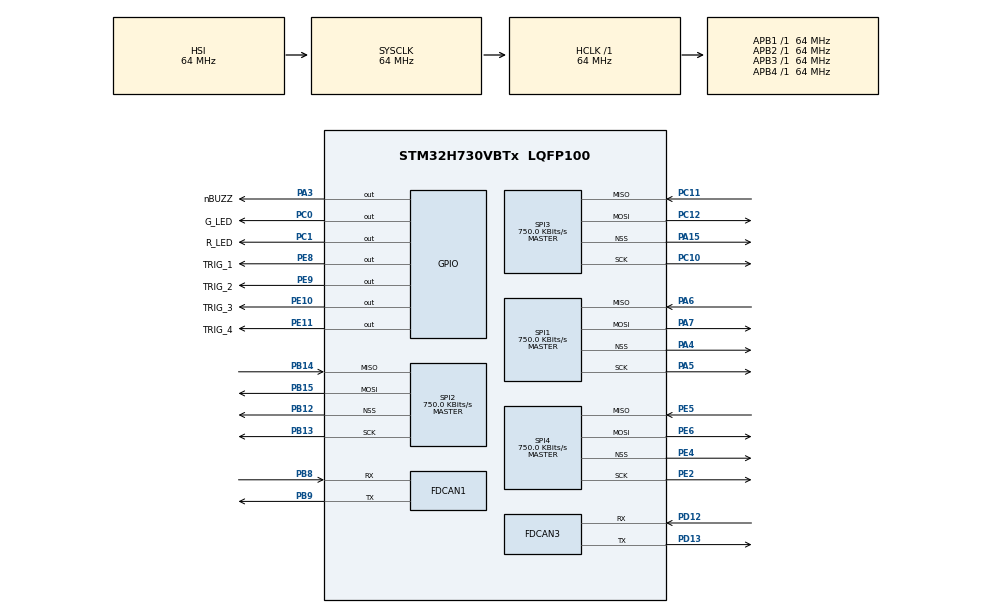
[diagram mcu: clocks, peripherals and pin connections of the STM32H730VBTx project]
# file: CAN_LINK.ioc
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CORTEX_M7.default_mode_Activation=1
FDCAN1.CalculateBaudRateNominal=500000
FDCAN1.CalculateTimeBitNominal=2000
FDCAN1.CalculateTimeQuantumNominal=400.0
FDCAN1.NominalPrescaler=10
FDCAN1.RxFifo0ElmtsNbr=5
FDCAN1.TxFifoQueueElmtsNbr=5
FDCAN3.AutoRetransmission=ENABLE
FDCAN3.CalculateBaudRateNominal=1000000
FDCAN3.CalculateTimeBitNominal=1000
FDCAN3.CalculateTimeQuantumNominal=200.0
FDCAN3.FrameFormat=FDCAN_FRAME_FD_NO_BRS
FDCAN3.MessageRAMOffset=200
FDCAN3.NominalPrescaler=5
FDCAN3.RxFifo1ElmtSize=FDCAN_DATA_BYTES_64
FDCAN3.RxFifo1ElmtsNbr=5
FDCAN3.TxElmtSize=FDCAN_DATA_BYTES_64
FDCAN3.TxFifoQueueElmtsNbr=5
Mcu.Family=STM32H7
Mcu.Name=STM32H730VBTx
Mcu.Package=LQFP100
NVIC.PriorityGroup=NVIC_PRIORITYGROUP_4
PA13(JTMS/SWDIO).Mode=Trace_Asynchronous_SW
PA13(JTMS/SWDIO).Signal=DEBUG_JTMS-SWDIO
PA14(JTCK/SWCLK).Mode=Trace_Asynchronous_SW
PA14(JTCK/SWCLK).Signal=DEBUG_JTCK-SWCLK
PA15(JTDI).Mode=NSS_Signal_Hard_Output
PA15(JTDI).Signal=SPI3_NSS
PA3.GPIO_Label=nBUZZ
PA3.GPIO_ModeDefaultOutputPP=GPIO_MODE_OUTPUT_OD
PA3.GPIO_PuPd=GPIO_NOPULL
PA3.Signal=GPIO_Output
PA4.Mode=NSS_Signal_Hard_Output
PA4.Signal=SPI1_NSS
PA5.Mode=Full_Duplex_Master
PA5.Signal=SPI1_SCK
PA6.Mode=Full_Duplex_Master
PA6.Signal=SPI1_MISO
PA7.Mode=Full_Duplex_Master
PA7.Signal=SPI1_MOSI
PB12.Mode=NSS_Signal_Hard_Output
PB12.Signal=SPI2_NSS
PB13.Mode=Full_Duplex_Master
PB13.Signal=SPI2_SCK
PB14.Mode=Full_Duplex_Master
PB14.Signal=SPI2_MISO
PB15.Mode=Full_Duplex_Master
PB15.Signal=SPI2_MOSI
PB3(JTDO/TRACESWO).Mode=Trace_Asynchronous_SW
PB3(JTDO/TRACESWO).Signal=DEBUG_JTDO-SWO
PB8.Mode=FDCAN_Activate
PB8.Signal=FDCAN1_RX
PB9.Mode=FDCAN_Activate
PB9.Signal=FDCAN1_TX
PC0.GPIO_Label=G_LED
PC0.GPIO_ModeDefaultOutputPP=GPIO_MODE_OUTPUT_OD
PC0.GPIO_PuPd=GPIO_NOPULL
PC0.Signal=GPIO_Output
PC1.GPIO_Label=R_LED
PC1.GPIO_ModeDefaultOutputPP=GPIO_MODE_OUTPUT_OD
PC1.GPIO_PuPd=GPIO_NOPULL
PC1.Signal=GPIO_Output
PC10.Mode=Full_Duplex_Master
PC10.Signal=SPI3_SCK
PC11.Mode=Full_Duplex_Master
PC11.Signal=SPI3_MISO
PC12.Mode=Full_Duplex_Master
PC12.Signal=SPI3_MOSI
PC14-OSC32_IN.Mode=LSE-External-Oscillator
PC14-OSC32_IN.Signal=RCC_OSC32_IN
PC15-OSC32_OUT.Mode=LSE-External-Oscillator
PC15-OSC32_OUT.Signal=RCC_OSC32_OUT
PD12.Mode=FDCAN_Activate
PD12.Signal=FDCAN3_RX
PD13.Mode=FDCAN_Activate
PD13.Signal=FDCAN3_TX
PE10.GPIO_Label=TRIG_3
PE10.Signal=GPIO_Output
PE11.GPIO_Label=TRIG_4
PE11.Signal=GPIO_Output
PE2.Mode=Full_Duplex_Master
PE2.Signal=SPI4_SCK
PE4.Mode=NSS_Signal_Hard_Output
PE4.Signal=SPI4_NSS
PE5.Mode=Full_Duplex_Master
PE5.Signal=SPI4_MISO
PE6.Mode=Full_Duplex_Master
PE6.Signal=SPI4_MOSI
PE8.GPIO_Label=TRIG_1
PE8.Signal=GPIO_Output
PE9.GPIO_Label=TRIG_2
PE9.Signal=GPIO_Output
PH0-OSC_IN.Mode=HSE-External-Oscillator
PH0-OSC_IN.Signal=RCC_OSC_IN
PH1-OSC_OUT.Mode=HSE-External-Oscillator
PH1-OSC_OUT.Signal=RCC_OSC_OUT
ProjectManager.HeapSize=0x200
ProjectManager.StackSize=0x400
ProjectManager.TargetToolchain=STM32CubeIDE
RCC.ADCFreq_Value=96000000
RCC.APB1Freq_Value=64000000
RCC.APB2Freq_Value=64000000
RCC.APB3Freq_Value=64000000
RCC.APB4Freq_Value=64000000
RCC.CortexFreq_Value=64000000
RCC.DIVM1=4
RCC.DIVM2=4
RCC.DIVN1=12
RCC.DIVN2=12
RCC.DIVQ1=128
RCC.DIVQ2=128
RCC.FDCANCLockSelection=RCC_FDCANCLKSOURCE_HSE
RCC.HCLKFreq_Value=64000000
RCC.PLL2FRACN=0
RCC.PLL3FRACN=0
RCC.PLLFRACN=0
RCC.SYSCLKFreq_VALUE=64000000
RCC.Spi45ClockSelection=RCC_SPI45CLKSOURCE_PLL2
RCC.USBFreq_Value=1500000
SPI1.CalculateBaudRate=750.0 KBits/s
SPI1.Direction=SPI_DIRECTION_2LINES
SPI1.Mode=SPI_MODE_MASTER
SPI1.VirtualNSS=VM_NSSHARD
SPI1.VirtualType=VM_MASTER
SPI2.CalculateBaudRate=750.0 KBits/s
SPI2.Direction=SPI_DIRECTION_2LINES
SPI2.Mode=SPI_MODE_MASTER
SPI2.VirtualNSS=VM_NSSHARD
SPI2.VirtualType=VM_MASTER
SPI3.CalculateBaudRate=750.0 KBits/s
SPI3.Direction=SPI_DIRECTION_2LINES
SPI3.Mode=SPI_MODE_MASTER
SPI3.VirtualNSS=VM_NSSHARD
SPI3.VirtualType=VM_MASTER
SPI4.CalculateBaudRate=750.0 KBits/s
SPI4.DataSize=SPI_DATASIZE_16BIT
SPI4.Direction=SPI_DIRECTION_2LINES
SPI4.Mode=SPI_MODE_MASTER
SPI4.TIMode=SPI_TIMODE_ENABLE
SPI4.VirtualNSS=VM_NSSHARD
SPI4.VirtualType=VM_MASTER
board=custom

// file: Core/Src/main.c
/* USER CODE BEGIN Header */
/**
  ******************************************************************************
  * @file           : main.c
  * @brief          : Main program body
  ******************************************************************************
  * @attention
  *
  * Copyright (c) 2024 STMicroelectronics.
  * All rights reserved.
  *
  * This software is licensed under terms that can be found in the LICENSE file
  * in the root directory of this software component.
  * If no LICENSE file comes with this software, it is provided AS-IS.
  *
  ******************************************************************************
  */
/* USER CODE END Header */
#include "main.h"

FDCAN_HandleTypeDef hfdcan1;
FDCAN_HandleTypeDef hfdcan3;

SPI_HandleTypeDef hspi1;
SPI_HandleTypeDef hspi2;
SPI_HandleTypeDef hspi3;
SPI_HandleTypeDef hspi4;

/* USER CODE BEGIN PV */
// FDCAN1 Defines
FDCAN_TxHeaderTypeDef TxHeader1;
FDCAN_RxHeaderTypeDef   RxHeader1;
uint8_t               TxData1[8];
uint8_t               RxData1[8];

// FDCAN3 Defines
FDCAN_TxHeaderTypeDef   TxHeader3;
FDCAN_RxHeaderTypeDef   RxHeader3;
uint8_t               TxData3[64];
uint8_t               RxData3[64];

/* USER CODE END PV */

void SystemClock_Config(void);
static void MPU_Config(void);
static void MX_GPIO_Init(void);
static void MX_FDCAN1_Init(void);
static void MX_FDCAN3_Init(void);
static void MX_SPI1_Init(void);
static void MX_SPI2_Init(void);
static void MX_SPI3_Init(void);
static void MX_SPI4_Init(void);

/* USER CODE BEGIN 0 */

// FDCAN1 Callback
void HAL_FDCAN_RxFifo0Callback(FDCAN_HandleTypeDef *hfdcan, uint32_t RxFifo0ITs)
{
  if((RxFifo0ITs & FDCAN_IT_RX_FIFO0_NEW_MESSAGE) != RESET)
  {
    /* Retreive Rx messages from RX FIFO0 */
    if (HAL_FDCAN_GetRxMessage(hfdcan, FDCAN_RX_FIFO0, &RxHeader1, RxData1) != HAL_OK)
    {
    	/* Reception Error */
		Error_Handler();
    }

    HAL_GPIO_TogglePin (R_LED_GPIO_Port, R_LED_Pin);

    if (HAL_FDCAN_ActivateNotification(hfdcan, FDCAN_IT_RX_FIFO0_NEW_MESSAGE, 0) != HAL_OK)
    {
    	/* Notification Error */
    	Error_Handler();
    }
  }
}

// FDCAN3 Callback
void HAL_FDCAN_RxFifo1Callback(FDCAN_HandleTypeDef *hfdcan, uint32_t RxFifo1ITs)
{
  if((RxFifo1ITs & FDCAN_IT_RX_FIFO1_NEW_MESSAGE) != RESET)
  {
    /* Retreive Rx messages from RX FIFO0 */
    if (HAL_FDCAN_GetRxMessage(hfdcan, FDCAN_RX_FIFO1, &RxHeader3, RxData3) != HAL_OK)
    {
    	/* Reception Error */
		Error_Handler();
    }

    HAL_GPIO_TogglePin (R_LED_GPIO_Port, R_LED_Pin);

    if (HAL_FDCAN_ActivateNotification(hfdcan, FDCAN_IT_RX_FIFO1_NEW_MESSAGE, 0) != HAL_OK)
    {
		/* Notification Error */
		Error_Handler();
    }
  }
}

/* USER CODE END 0 */

int main(void)
{

  /* MPU Configuration--------------------------------------------------------*/
  MPU_Config();

  /* MCU Configuration--------------------------------------------------------*/

  /* Reset of all peripherals, Initializes the Flash interface and the Systick. */
  HAL_Init();

  /* Configure the system clock */
  SystemClock_Config();

  /* Initialize all configured peripherals */
  MX_GPIO_Init();
  MX_FDCAN1_Init();
  MX_FDCAN3_Init();
  MX_SPI1_Init();
  MX_SPI2_Init();
  MX_SPI3_Init();
  MX_SPI4_Init();
  /* USER CODE BEGIN 2 */

  //start FDCAN1
  HAL_FDCAN_Start(&hfdcan1);
  if (HAL_FDCAN_ActivateNotification(&hfdcan1, FDCAN_IT_RX_FIFO0_NEW_MESSAGE, 0) != HAL_OK) {
	  Error_Handler();
  }

  //start FDCAN3
  HAL_FDCAN_Start(&hfdcan3);
  if (HAL_FDCAN_ActivateNotification(&hfdcan3, FDCAN_IT_RX_FIFO1_NEW_MESSAGE, 0) != HAL_OK) {
  	  Error_Handler();
  }

  /* USER CODE END 2 */

  /* Infinite loop */
  while (1)
  {

    /* USER CODE BEGIN 3 */

	  HAL_GPIO_TogglePin (G_LED_GPIO_Port, G_LED_Pin);
	  HAL_Delay (500);   /* Insert delay 100 ms */
  }
  /* USER CODE END 3 */
}

void SystemClock_Config(void)
{
  RCC_OscInitTypeDef RCC_OscInitStruct = {0};
  RCC_ClkInitTypeDef RCC_ClkInitStruct = {0};

  /** Supply configuration update enable
  */
  HAL_PWREx_ConfigSupply(PWR_LDO_SUPPLY);

  /** Configure the main internal regulator output voltage
  */
  __HAL_PWR_VOLTAGESCALING_CONFIG(PWR_REGULATOR_VOLTAGE_SCALE3);

  while(!__HAL_PWR_GET_FLAG(PWR_FLAG_VOSRDY)) {}

  /** Initializes the RCC Oscillators according to the specified parameters
  * in the RCC_OscInitTypeDef structure.
  */
  RCC_OscInitStruct.OscillatorType = RCC_OSCILLATORTYPE_HSI|RCC_OSCILLATORTYPE_HSE;
  RCC_OscInitStruct.HSEState = RCC_HSE_ON;
  RCC_OscInitStruct.HSIState = RCC_HSI_DIV1;
  RCC_OscInitStruct.HSICalibrationValue = 64;
  RCC_OscInitStruct.PLL.PLLState = RCC_PLL_ON;
  RCC_OscInitStruct.PLL.PLLSource = RCC_PLLSOURCE_HSI;
  RCC_OscInitStruct.PLL.PLLM = 4;
  RCC_OscInitStruct.PLL.PLLN = 12;
  RCC_OscInitStruct.PLL.PLLP = 2;
  RCC_OscInitStruct.PLL.PLLQ = 128;
  RCC_OscInitStruct.PLL.PLLR = 2;
  RCC_OscInitStruct.PLL.PLLRGE = RCC_PLL1VCIRANGE_3;
  RCC_OscInitStruct.PLL.PLLVCOSEL = RCC_PLL1VCOWIDE;
  RCC_OscInitStruct.PLL.PLLFRACN = 0;
  if (HAL_RCC_OscConfig(&RCC_OscInitStruct) != HAL_OK)
  {
    Error_Handler();
  }

  /** Initializes the CPU, AHB and APB buses clocks
  */
  RCC_ClkInitStruct.ClockType = RCC_CLOCKTYPE_HCLK|RCC_CLOCKTYPE_SYSCLK
                              |RCC_CLOCKTYPE_PCLK1|RCC_CLOCKTYPE_PCLK2
                              |RCC_CLOCKTYPE_D3PCLK1|RCC_CLOCKTYPE_D1PCLK1;
  RCC_ClkInitStruct.SYSCLKSource = RCC_SYSCLKSOURCE_HSI;
  RCC_ClkInitStruct.SYSCLKDivider = RCC_SYSCLK_DIV1;
  RCC_ClkInitStruct.AHBCLKDivider = RCC_HCLK_DIV1;
  RCC_ClkInitStruct.APB3CLKDivider = RCC_APB3_DIV1;
  RCC_ClkInitStruct.APB1CLKDivider = RCC_APB1_DIV1;
  RCC_ClkInitStruct.APB2CLKDivider = RCC_APB2_DIV1;
  RCC_ClkInitStruct.APB4CLKDivider = RCC_APB4_DIV1;

  if (HAL_RCC_ClockConfig(&RCC_ClkInitStruct, FLASH_LATENCY_1) != HAL_OK)
  {
    Error_Handler();
  }
}

static void MX_FDCAN1_Init(void)
{

  hfdcan1.Instance = FDCAN1;
  hfdcan1.Init.FrameFormat = FDCAN_FRAME_CLASSIC;
  hfdcan1.Init.Mode = FDCAN_MODE_NORMAL;
  hfdcan1.Init.AutoRetransmission = DISABLE;
  hfdcan1.Init.TransmitPause = DISABLE;
  hfdcan1.Init.ProtocolException = DISABLE;
  hfdcan1.Init.NominalPrescaler = 10;
  hfdcan1.Init.NominalSyncJumpWidth = 1;
  hfdcan1.Init.NominalTimeSeg1 = 2;
  hfdcan1.Init.NominalTimeSeg2 = 2;
  hfdcan1.Init.DataPrescaler = 1;
  hfdcan1.Init.DataSyncJumpWidth = 1;
  hfdcan1.Init.DataTimeSeg1 = 1;
  hfdcan1.Init.DataTimeSeg2 = 1;
  hfdcan1.Init.MessageRAMOffset = 0;
  hfdcan1.Init.StdFiltersNbr = 0;
  hfdcan1.Init.ExtFiltersNbr = 0;
  hfdcan1.Init.RxFifo0ElmtsNbr = 5;
  hfdcan1.Init.RxFifo0ElmtSize = FDCAN_DATA_BYTES_8;
  hfdcan1.Init.RxFifo1ElmtsNbr = 0;
  hfdcan1.Init.RxFifo1ElmtSize = FDCAN_DATA_BYTES_8;
  hfdcan1.Init.RxBuffersNbr = 0;
  hfdcan1.Init.RxBufferSize = FDCAN_DATA_BYTES_8;
  hfdcan1.Init.TxEventsNbr = 0;
  hfdcan1.Init.TxBuffersNbr = 0;
  hfdcan1.Init.TxFifoQueueElmtsNbr = 5;
  hfdcan1.Init.TxFifoQueueMode = FDCAN_TX_FIFO_OPERATION;
  hfdcan1.Init.TxElmtSize = FDCAN_DATA_BYTES_8;
  if (HAL_FDCAN_Init(&hfdcan1) != HAL_OK)
  {
    Error_Handler();
  }
  /* USER CODE BEGIN FDCAN1_Init 2 */

  /* Configure standard ID reception filter to Rx buffer 0 */ //copied from https://github.com/STMicroelectronics/STM32CubeH7/blob/master/Projects/STM32H735G-DK/Examples/FDCAN/FDCAN_Loopback/Src/main.c
//    sFilterConfig.IdType = FDCAN_STANDARD_ID;
//    sFilterConfig.FilterIndex = 0;
//    sFilterConfig.FilterType = FDCAN_FILTER_DUAL;
//    sFilterConfig.FilterConfig = FDCAN_FILTER_TO_RXBUFFER;
//    sFilterConfig.FilterID1 = 0x0F6; //test id 1
//    sFilterConfig.FilterID2 = 0x036; //test id 2
//    sFilterConfig.RxBufferIndex = 0;
//    HAL_FDCAN_ConfigFilter(&hfdcan1, &sFilterConfig);

  // NO FILTER NEEDED SINCE WE'RE TRYNA RECORD EVERYTHING

  /* USER CODE END FDCAN1_Init 2 */

}

static void MX_FDCAN3_Init(void)
{

  hfdcan3.Instance = FDCAN3;
  hfdcan3.Init.FrameFormat = FDCAN_FRAME_FD_NO_BRS;
  hfdcan3.Init.Mode = FDCAN_MODE_NORMAL;
  hfdcan3.Init.AutoRetransmission = ENABLE;
  hfdcan3.Init.TransmitPause = DISABLE;
  hfdcan3.Init.ProtocolException = DISABLE;
  hfdcan3.Init.NominalPrescaler = 5;
  hfdcan3.Init.NominalSyncJumpWidth = 1;
  hfdcan3.Init.NominalTimeSeg1 = 2;
  hfdcan3.Init.NominalTimeSeg2 = 2;
  hfdcan3.Init.DataPrescaler = 1;
  hfdcan3.Init.DataSyncJumpWidth = 1;
  hfdcan3.Init.DataTimeSeg1 = 1;
  hfdcan3.Init.DataTimeSeg2 = 1;
  hfdcan3.Init.MessageRAMOffset = 200;
  hfdcan3.Init.StdFiltersNbr = 0;
  hfdcan3.Init.ExtFiltersNbr = 0;
  hfdcan3.Init.RxFifo0ElmtsNbr = 0;
  hfdcan3.Init.RxFifo0ElmtSize = FDCAN_DATA_BYTES_8;
  hfdcan3.Init.RxFifo1ElmtsNbr = 5;
  hfdcan3.Init.RxFifo1ElmtSize = FDCAN_DATA_BYTES_64;
  hfdcan3.Init.RxBuffersNbr = 0;
  hfdcan3.Init.RxBufferSize = FDCAN_DATA_BYTES_8;
  hfdcan3.Init.TxEventsNbr = 0;
  hfdcan3.Init.TxBuffersNbr = 0;
  hfdcan3.Init.TxFifoQueueElmtsNbr = 5;
  hfdcan3.Init.TxFifoQueueMode = FDCAN_TX_FIFO_OPERATION;
  hfdcan3.Init.TxElmtSize = FDCAN_DATA_BYTES_64;
  if (HAL_FDCAN_Init(&hfdcan3) != HAL_OK)
  {
    Error_Handler();
  }

}

static void MX_SPI1_Init(void)
{

  /* SPI1 parameter configuration*/
  hspi1.Instance = SPI1;
  hspi1.Init.Mode = SPI_MODE_MASTER;
  hspi1.Init.Direction = SPI_DIRECTION_2LINES;
  hspi1.Init.DataSize = SPI_DATASIZE_4BIT;
  hspi1.Init.CLKPolarity = SPI_POLARITY_LOW;
  hspi1.Init.CLKPhase = SPI_PHASE_1EDGE;
  hspi1.Init.NSS = SPI_NSS_HARD_OUTPUT;
  hspi1.Init.BaudRatePrescaler = SPI_BAUDRATEPRESCALER_2;
  hspi1.Init.FirstBit = SPI_FIRSTBIT_MSB;
  hspi1.Init.TIMode = SPI_TIMODE_DISABLE;
  hspi1.Init.CRCCalculation = SPI_CRCCALCULATION_DISABLE;
  hspi1.Init.CRCPolynomial = 0x0;
  hspi1.Init.NSSPMode = SPI_NSS_PULSE_ENABLE;
  hspi1.Init.NSSPolarity = SPI_NSS_POLARITY_LOW;
  hspi1.Init.FifoThreshold = SPI_FIFO_THRESHOLD_01DATA;
  hspi1.Init.TxCRCInitializationPattern = SPI_CRC_INITIALIZATION_ALL_ZERO_PATTERN;
  hspi1.Init.RxCRCInitializationPattern = SPI_CRC_INITIALIZATION_ALL_ZERO_PATTERN;
  hspi1.Init.MasterSSIdleness = SPI_MASTER_SS_IDLENESS_00CYCLE;
  hspi1.Init.MasterInterDataIdleness = SPI_MASTER_INTERDATA_IDLENESS_00CYCLE;
  hspi1.Init.MasterReceiverAutoSusp = SPI_MASTER_RX_AUTOSUSP_DISABLE;
  hspi1.Init.MasterKeepIOState = SPI_MASTER_KEEP_IO_STATE_DISABLE;
  hspi1.Init.IOSwap = SPI_IO_SWAP_DISABLE;
  if (HAL_SPI_Init(&hspi1) != HAL_OK)
  {
    Error_Handler();
  }

}

static void MX_SPI2_Init(void)
{

  /* SPI2 parameter configuration*/
  hspi2.Instance = SPI2;
  hspi2.Init.Mode = SPI_MODE_MASTER;
  hspi2.Init.Direction = SPI_DIRECTION_2LINES;
  hspi2.Init.DataSize = SPI_DATASIZE_4BIT;
  hspi2.Init.CLKPolarity = SPI_POLARITY_LOW;
  hspi2.Init.CLKPhase = SPI_PHASE_1EDGE;
  hspi2.Init.NSS = SPI_NSS_HARD_OUTPUT;
  hspi2.Init.BaudRatePrescaler = SPI_BAUDRATEPRESCALER_2;
  hspi2.Init.FirstBit = SPI_FIRSTBIT_MSB;
  hspi2.Init.TIMode = SPI_TIMODE_DISABLE;
  hspi2.Init.CRCCalculation = SPI_CRCCALCULATION_DISABLE;
  hspi2.Init.CRCPolynomial = 0x0;
  hspi2.Init.NSSPMode = SPI_NSS_PULSE_ENABLE;
  hspi2.Init.NSSPolarity = SPI_NSS_POLARITY_LOW;
  hspi2.Init.FifoThreshold = SPI_FIFO_THRESHOLD_01DATA;
  hspi2.Init.TxCRCInitializationPattern = SPI_CRC_INITIALIZATION_ALL_ZERO_PATTERN;
  hspi2.Init.RxCRCInitializationPattern = SPI_CRC_INITIALIZATION_ALL_ZERO_PATTERN;
  hspi2.Init.MasterSSIdleness = SPI_MASTER_SS_IDLENESS_00CYCLE;
  hspi2.Init.MasterInterDataIdleness = SPI_MASTER_INTERDATA_IDLENESS_00CYCLE;
  hspi2.Init.MasterReceiverAutoSusp = SPI_MASTER_RX_AUTOSUSP_DISABLE;
  hspi2.Init.MasterKeepIOState = SPI_MASTER_KEEP_IO_STATE_DISABLE;
  hspi2.Init.IOSwap = SPI_IO_SWAP_DISABLE;
  if (HAL_SPI_Init(&hspi2) != HAL_OK)
  {
    Error_Handler();
  }

}

static void MX_SPI3_Init(void)
{

  /* SPI3 parameter configuration*/
  hspi3.Instance = SPI3;
  hspi3.Init.Mode = SPI_MODE_MASTER;
  hspi3.Init.Direction = SPI_DIRECTION_2LINES;
  hspi3.Init.DataSize = SPI_DATASIZE_4BIT;
  hspi3.Init.CLKPolarity = SPI_POLARITY_LOW;
  hspi3.Init.CLKPhase = SPI_PHASE_1EDGE;
  hspi3.Init.NSS = SPI_NSS_HARD_OUTPUT;
  hspi3.Init.BaudRatePrescaler = SPI_BAUDRATEPRESCALER_2;
  hspi3.Init.FirstBit = SPI_FIRSTBIT_MSB;
  hspi3.Init.TIMode = SPI_TIMODE_DISABLE;
  hspi3.Init.CRCCalculation = SPI_CRCCALCULATION_DISABLE;
  hspi3.Init.CRCPolynomial = 0x0;
  hspi3.Init.NSSPMode = SPI_NSS_PULSE_ENABLE;
  hspi3.Init.NSSPolarity = SPI_NSS_POLARITY_LOW;
  hspi3.Init.FifoThreshold = SPI_FIFO_THRESHOLD_01DATA;
  hspi3.Init.TxCRCInitializationPattern = SPI_CRC_INITIALIZATION_ALL_ZERO_PATTERN;
  hspi3.Init.RxCRCInitializationPattern = SPI_CRC_INITIALIZATION_ALL_ZERO_PATTERN;
  hspi3.Init.MasterSSIdleness = SPI_MASTER_SS_IDLENESS_00CYCLE;
  hspi3.Init.MasterInterDataIdleness = SPI_MASTER_INTERDATA_IDLENESS_00CYCLE;
  hspi3.Init.MasterReceiverAutoSusp = SPI_MASTER_RX_AUTOSUSP_DISABLE;
  hspi3.Init.MasterKeepIOState = SPI_MASTER_KEEP_IO_STATE_DISABLE;
  hspi3.Init.IOSwap = SPI_IO_SWAP_DISABLE;
  if (HAL_SPI_Init(&hspi3) != HAL_OK)
  {
    Error_Handler();
  }

}

static void MX_SPI4_Init(void)
{

  /* SPI4 parameter configuration*/
  hspi4.Instance = SPI4;
  hspi4.Init.Mode = SPI_MODE_MASTER;
  hspi4.Init.Direction = SPI_DIRECTION_2LINES;
  hspi4.Init.DataSize = SPI_DATASIZE_16BIT;
  hspi4.Init.NSS = SPI_NSS_HARD_OUTPUT;
  hspi4.Init.BaudRatePrescaler = SPI_BAUDRATEPRESCALER_2;
  hspi4.Init.TIMode = SPI_TIMODE_ENABLE;
  hspi4.Init.CRCCalculation = SPI_CRCCALCULATION_DISABLE;
  hspi4.Init.CRCPolynomial = 0x0;
  hspi4.Init.NSSPMode = SPI_NSS_PULSE_DISABLE;
  hspi4.Init.NSSPolarity = SPI_NSS_POLARITY_LOW;
  hspi4.Init.FifoThreshold = SPI_FIFO_THRESHOLD_01DATA;
  hspi4.Init.TxCRCInitializationPattern = SPI_CRC_INITIALIZATION_ALL_ZERO_PATTERN;
  hspi4.Init.RxCRCInitializationPattern = SPI_CRC_INITIALIZATION_ALL_ZERO_PATTERN;
  hspi4.Init.MasterReceiverAutoSusp = SPI_MASTER_RX_AUTOSUSP_DISABLE;
  hspi4.Init.MasterKeepIOState = SPI_MASTER_KEEP_IO_STATE_DISABLE;
  hspi4.Init.IOSwap = SPI_IO_SWAP_DISABLE;
  if (HAL_SPI_Init(&hspi4) != HAL_OK)
  {
    Error_Handler();
  }

}

static void MX_GPIO_Init(void)
{
  GPIO_InitTypeDef GPIO_InitStruct = {0};

  /* GPIO Ports Clock Enable */
  __HAL_RCC_GPIOE_CLK_ENABLE();
  __HAL_RCC_GPIOC_CLK_ENABLE();
  __HAL_RCC_GPIOH_CLK_ENABLE();
  __HAL_RCC_GPIOA_CLK_ENABLE();
  __HAL_RCC_GPIOB_CLK_ENABLE();
  __HAL_RCC_GPIOD_CLK_ENABLE();

  /*Configure GPIO pin Output Level */
  HAL_GPIO_WritePin(GPIOC, G_LED_Pin|R_LED_Pin, GPIO_PIN_RESET);

  /*Configure GPIO pin Output Level */
  HAL_GPIO_WritePin(nBUZZ_GPIO_Port, nBUZZ_Pin, GPIO_PIN_RESET);

  /*Configure GPIO pin Output Level */
  HAL_GPIO_WritePin(GPIOE, TRIG_1_Pin|TRIG_2_Pin|TRIG_3_Pin|TRIG_4_Pin, GPIO_PIN_RESET);

  /*Configure GPIO pins : G_LED_Pin R_LED_Pin */
  GPIO_InitStruct.Pin = G_LED_Pin|R_LED_Pin;
  GPIO_InitStruct.Mode = GPIO_MODE_OUTPUT_OD;
  GPIO_InitStruct.Pull = GPIO_NOPULL;
  GPIO_InitStruct.Speed = GPIO_SPEED_FREQ_LOW;
  HAL_GPIO_Init(GPIOC, &GPIO_InitStruct);

  /*Configure GPIO pin : nBUZZ_Pin */
  GPIO_InitStruct.Pin = nBUZZ_Pin;
  GPIO_InitStruct.Mode = GPIO_MODE_OUTPUT_OD;
  GPIO_InitStruct.Pull = GPIO_NOPULL;
  GPIO_InitStruct.Speed = GPIO_SPEED_FREQ_LOW;
  HAL_GPIO_Init(nBUZZ_GPIO_Port, &GPIO_InitStruct);

  /*Configure GPIO pins : TRIG_1_Pin TRIG_2_Pin TRIG_3_Pin TRIG_4_Pin */
  GPIO_InitStruct.Pin = TRIG_1_Pin|TRIG_2_Pin|TRIG_3_Pin|TRIG_4_Pin;
  GPIO_InitStruct.Mode = GPIO_MODE_OUTPUT_PP;
  GPIO_InitStruct.Pull = GPIO_NOPULL;
  GPIO_InitStruct.Speed = GPIO_SPEED_FREQ_LOW;
  HAL_GPIO_Init(GPIOE, &GPIO_InitStruct);

}

 /* MPU Configuration */

void MPU_Config(void)
{
  MPU_Region_InitTypeDef MPU_InitStruct = {0};

  /* Disables the MPU */
  HAL_MPU_Disable();

  /** Initializes and configures the Region and the memory to be protected
  */
  MPU_InitStruct.Enable = MPU_REGION_ENABLE;
  MPU_InitStruct.Number = MPU_REGION_NUMBER0;
  MPU_InitStruct.BaseAddress = 0x0;
  MPU_InitStruct.Size = MPU_REGION_SIZE_4GB;
  MPU_InitStruct.SubRegionDisable = 0x87;
  MPU_InitStruct.TypeExtField = MPU_TEX_LEVEL0;
  MPU_InitStruct.AccessPermission = MPU_REGION_NO_ACCESS;
  MPU_InitStruct.DisableExec = MPU_INSTRUCTION_ACCESS_DISABLE;
  MPU_InitStruct.IsShareable = MPU_ACCESS_SHAREABLE;
  MPU_InitStruct.IsCacheable = MPU_ACCESS_NOT_CACHEABLE;
  MPU_InitStruct.IsBufferable = MPU_ACCESS_NOT_BUFFERABLE;

  HAL_MPU_ConfigRegion(&MPU_InitStruct);
  /* Enables the MPU */
  HAL_MPU_Enable(MPU_PRIVILEGED_DEFAULT);

}

void Error_Handler(void)
{
  __disable_irq();
  while (1)
  {
  }
}
